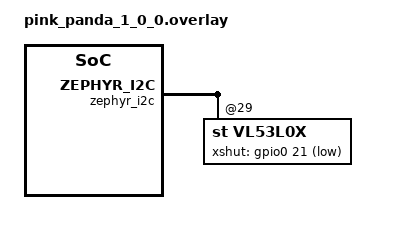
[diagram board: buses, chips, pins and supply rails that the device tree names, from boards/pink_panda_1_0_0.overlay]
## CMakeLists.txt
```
list(APPEND OVERLAY_CONFIG "wifi.conf")
list(APPEND OVERLAY_CONFIG "secret.conf")
set(SHIELD nrf7002eb)

cmake_minimum_required(VERSION 3.20.0)
list(APPEND BOARD_ROOT ${CMAKE_CURRENT_SOURCE_DIR})
find_package(Zephyr REQUIRED HINTS $ENV{ZEPHYR_BASE})

execute_process(COMMAND git describe
                WORKING_DIRECTORY ${CMAKE_CURRENT_SOURCE_DIR}
                OUTPUT_VARIABLE GIT_DESCRIBE
                ERROR_QUIET)
string(STRIP "${GIT_DESCRIBE}" GIT_DESCRIBE)
STRING(REGEX MATCH "[0-9]+\\.[0-9]+\\.[0-9]+"
       VERSION "${GIT_DESCRIBE}")

project(app LANGUAGES C VERSION ${VERSION})


configure_file(app_version.h.in ${CMAKE_BINARY_DIR}/app/include/app_version.h)
zephyr_include_directories(
    ${CMAKE_BINARY_DIR}/app/include
)
target_include_directories(app PRIVATE ${CMAKE_BINARY_DIR}/app/include src)

zephyr_include_directories(
       configuration/${BOARD})

target_sources(app PRIVATE
        src/main.c)
```

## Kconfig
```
mainmenu "Main Application"

config APP_SUSPEND_CONSOLE
	bool "Suspend console"
	help
	  Suspend console.

config APP_MAIN_LOOP_PERIOD_SEC
	int "Main loop period (sec)"
	default 10
	help
	  Main loop period in seconds.

config APP_WIFI_SSID
	string "SSID of the target AP"
	help
	  SSID of the access point to connect to in station mode.
	  For example: "TARGET-AP"

config APP_WIFI_PSK
	string "Pre-shared key for target AP"
	help
	  WPA2 password used to connect to the target AP.
	  For example: "PSK"

source "Kconfig.zephyr"
```

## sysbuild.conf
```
SB_CONFIG_WIFI_NRF70=y
SB_CONFIG_PARTITION_MANAGER=n
```

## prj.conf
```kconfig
CONFIG_APP_MAIN_LOOP_PERIOD_SEC=2
CONFIG_SERIAL=y
#CONFIG_HEAP_MEM_POOL_SIZE=2048

CONFIG_PM_DEVICE=y

CONFIG_CAF=y
CONFIG_CAF_BUTTONS=y
CONFIG_CAF_BUTTONS_POLARITY_INVERSED=y

CONFIG_MY_MODULE_BASE_RESET=y
CONFIG_MY_MODULE_BASE_WATCHDOG=y
CONFIG_MY_MODULE_BASE_WATCHDOG_TIMEOUT_SEC=30

#CONFIG_MAIN_STACK_SIZE=4096
#CONFIG_SYSTEM_WORKQUEUE_STACK_SIZE=2048
#CONFIG_LOG_BUFFER_SIZE=2048

CONFIG_THREAD_NAME=y
CONFIG_EVENTS=y
CONFIG_CONSOLE=y
CONFIG_UART_CONSOLE=y

CONFIG_REQUIRES_FLOAT_PRINTF=y

CONFIG_THREAD_ANALYZER=y
CONFIG_LOG_SPEED=y
CONFIG_LOG=y

CONFIG_SENSOR=y
```

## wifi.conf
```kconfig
CONFIG_EARLY_CONSOLE=y

CONFIG_NETWORKING=y
CONFIG_TEST_RANDOM_GENERATOR=y

#CONFIG_MAIN_STACK_SIZE=2048
#CONFIG_SHELL_STACK_SIZE=2048
#CONFIG_NET_TX_STACK_SIZE=1024
#CONFIG_NET_RX_STACK_SIZE=1024

#CONFIG_NET_PKT_RX_COUNT=5
#CONFIG_NET_PKT_TX_COUNT=5
#CONFIG_NET_BUF_RX_COUNT=5
#CONFIG_NET_BUF_TX_COUNT=5
#CONFIG_NET_MAX_CONTEXTS=2
#CONFIG_NET_DHCPV4=y

#CONFIG_NET_IPV4=y
CONFIG_NET_IPV6=y

CONFIG_NET_TCP=y

#CONFIG_NET_LOG=y
CONFIG_INIT_STACKS=y

#CONFIG_NET_SHELL=y

#CONFIG_NET_STATISTICS=y
#CONFIG_NET_STATISTICS_PERIODIC_OUTPUT=n

CONFIG_WIFI=y
#CONFIG_NRF70_UTIL=y
#CONFIG_WIFI_LOG_LEVEL_ERR=y
#CONFIG_NET_L2_WIFI_SHELL=y
# printing of scan results puts pressure on queues in new locking
# design in net_mgmt. So, use a higher timeout for a crowded
# environment.
#CONFIG_NET_MGMT_EVENT_QUEUE_TIMEOUT=5000
#CONFIG_NET_MGMT_EVENT_QUEUE_SIZE=8

# CONFIG_WIFI_NM_WPA_SUPPLICANT_GLOBAL_HEAP is not set
##CONFIG_WIFI_NM_WPA_SUPPLICANT_HEAP=20000






# # Heap and stacks
# CONFIG_MAIN_STACK_SIZE=6144
# CONFIG_SYSTEM_WORKQUEUE_STACK_SIZE=4096
# CONFIG_HEAP_MEM_POOL_SIZE=40144
# CONFIG_NRF_WIFI_CTRL_HEAP_SIZE=15000
# CONFIG_NRF_WIFI_DATA_HEAP_SIZE=64856
# CONFIG_HEAP_MEM_POOL_IGNORE_MIN=y
# CONFIG_NET_RX_STACK_SIZE=2048
# 
# # Optimize Wi-Fi stack to save some memory
# CONFIG_NRF70_RX_NUM_BUFS=16
# CONFIG_NRF70_MAX_TX_AGGREGATION=4
# 
# # Wi-Fi
# CONFIG_WIFI=y
# CONFIG_WIFI_NRF70=y
# CONFIG_WIFI_NRF70_LOG_LEVEL_ERR=y
# CONFIG_WIFI_CREDENTIALS=y
# CONFIG_FLASH_PAGE_LAYOUT=y
# 
# # Logging: default LOG_PROCESS stack is 768 B; with CONFIG_CBPRINTF_FP_SUPPORT that overflows
# # easily and can corrupt state, TF-M secure fault INVEP on the next PSA/crypto call.
# CONFIG_LOG_PROCESS_THREAD_STACK_SIZE=4096
# 
# # WPA
# CONFIG_WIFI_NM_WPA_SUPPLICANT=y
# CONFIG_WIFI_NM_WPA_SUPPLICANT_LOG_LEVEL_ERR=y
# 
# # Zephyr NET Connection Manager Connectivity layer.
# CONFIG_L2_WIFI_CONNECTIVITY=y
# CONFIG_L2_WIFI_CONNECTIVITY_AUTO_CONNECT=n
# CONFIG_L2_WIFI_CONNECTIVITY_AUTO_DOWN=n




CONFIG_APP_WIFI_SSID="iot"


CONFIG_SYSTEM_WORKQUEUE_STACK_SIZE=3100
CONFIG_MAIN_STACK_SIZE=4096
CONFIG_LOG_PROCESS_THREAD_STACK_SIZE=2048
CONFIG_LOG_BUFFER_SIZE=4096
CONFIG_NET_PKT_RX_COUNT=6
CONFIG_NET_PKT_TX_COUNT=6
CONFIG_NET_RX_STACK_SIZE=2048
CONFIG_NET_TX_STACK_SIZE=2048
CONFIG_HEAP_MEM_POOL_SIZE=30000
CONFIG_L2_WIFI_CONNECTIVITY=y
# High stack for disconnect?
CONFIG_L2_WIFI_CONN_WQ_STACK_SIZE=6144
##CONFIG_PARTITION_MANAGER_ENABLED=y
CONFIG_NET_CONNECTION_MANAGER_MONITOR_STACK_SIZE=4096
CONFIG_NET_BUF_TX_COUNT=12
# CONFIG_WIFI_NM_WPA_SUPPLICANT_GLOBAL_HEAP is not set
CONFIG_WIFI_NM_WPA_SUPPLICANT_LOG_LEVEL_ERR=y
CONFIG_HEAP_MEM_POOL_IGNORE_MIN=y
CONFIG_ENTROPY_NRF5_THR_THRESHOLD=4
CONFIG_ENTROPY_NRF5_ISR_THRESHOLD=12
CONFIG_NET_MGMT_EVENT_STACK_SIZE=1024
CONFIG_WIFI_NRF70_LOG_LEVEL_ERR=y
CONFIG_NRF70_RX_NUM_BUFS=16
CONFIG_NRF70_MAX_TX_AGGREGATION=1
CONFIG_NRF70_IRQ_WQ_STACK_SIZE=1024
CONFIG_NRF_WIFI_CTRL_HEAP_SIZE=15000
CONFIG_NRF_WIFI_DATA_HEAP_SIZE=40000
CONFIG_NET_IPV6_LOG_LEVEL_DBG=y
CONFIG_NET_BUF_RX_COUNT=6
CONFIG_NET_LOG=y
CONFIG_WIFI_CREDENTIALS=y
CONFIG_WIFI_CREDENTIALS_STATIC=y
CONFIG_WIFI_CREDENTIALS_STATIC_SSID="iot"
CONFIG_NET_CONNECTION_MANAGER=y
CONFIG_TEST_RANDOM_GENERATOR=y




CONFIG_MY_MODULE_BASE_HOME_ASSISTANT=y
CONFIG_MY_MODULE_BASE_HA_DEVICE_NAME="Water level"
CONFIG_MY_MODULE_BASE_HA_DEV_TYPE_GENERIC=y
#CONFIG_MY_MODULE_BASE_HA_MQTT_SERVER_HOSTNAME="home.home.arpa"
CONFIG_MY_MODULE_BASE_HA_MQTT_SERVER_HOSTNAME="fd04:2240::1cef"
```

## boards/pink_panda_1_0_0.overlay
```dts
/ {
	/*
	* In some default configurations within the nRF Connect SDK,
	* e.g. on nRF52840, the chosen zephyr,entropy node is &cryptocell.
	* This devicetree overlay ensures that default is overridden wherever it
	* is set, as this application uses the RNG node for entropy exclusively.
	*/
	chosen {
		zephyr,entropy = &rng;
	};

	// edge_connector: connector {
	// 	compatible = "nordic-thingy53-edge-connector";
	// 	#gpio-cells = <2>;
	// 	gpio-map-mask = <0xffffffff 0xffffffc0>;
	// 	gpio-map-pass-thru = <0 0x3f>;
	// 	gpio-map = <8 0 &gpio1 13 0>,	/* P8, P0.05/AIN1 */
	// 		   <9 0 &gpio1 15 0>,	/* P9, P0.04/AIN0 */
	// 		   <15 0 &gpio0 2 0>,	/* P15, P0.08/TRACEDATA3 */
	// 		   <16 0 &gpio0 29 0>,	/* P16, P0.09/TRACEDATA2 */
	// 		   <17 0 &gpio0 5 0>,	/* P17, P0.10/TRACEDATA1 */
	// 		   <18 0 &gpio0 4 0>,	/* P18, P0.11/TRACEDATA0 */
	// 		   <19 0 &gpio0 25 0>;	/* P19, P0.12/TRACECLK */
	// };
};
&pinctrl {
	// i2c0_default: i2c0_default {
	// 	group1 {
	// 		psels = <NRF_PSEL(TWIM_SDA, 0, 26)>,
	// 			<NRF_PSEL(TWIM_SCL, 0, 27)>;
	// 	};
	// };

	// i2c0_sleep: i2c0_sleep {
	// 	group1 {
	// 		psels = <NRF_PSEL(TWIM_SDA, 0, 26)>,
	// 			<NRF_PSEL(TWIM_SCL, 0, 27)>;
	// 		low-power-enable;
	// 	};
	// };

	// i2c1_default: i2c1_default {
	// 	group1 {
	// 		psels = <NRF_PSEL(TWIM_SDA, 0, 30)>,
	// 			<NRF_PSEL(TWIM_SCL, 0, 31)>;
	// 	};
	// };

	// i2c1_sleep: i2c1_sleep {
	// 	group1 {
	// 		psels = <NRF_PSEL(TWIM_SDA, 0, 30)>,
	// 			<NRF_PSEL(TWIM_SCL, 0, 31)>;
	// 		low-power-enable;
	// 	};
	// };

	// pwm0_default: pwm0_default {
	// 	group1 {
	// 		psels = <NRF_PSEL(PWM_OUT0, 0, 8)>,
	// 			<NRF_PSEL(PWM_OUT1, 1, 9)>,
	// 			<NRF_PSEL(PWM_OUT2, 0, 12)>;
	// 		nordic,invert;
	// 	};
	// };

	// pwm0_sleep: pwm0_sleep {
	// 	group1 {
	// 		psels = <NRF_PSEL(PWM_OUT0, 0, 8)>,
	// 			<NRF_PSEL(PWM_OUT1, 1, 9)>,
	// 			<NRF_PSEL(PWM_OUT2, 0, 12)>;
	// 		low-power-enable;
	// 	};
	// };

	// spi0_default: spi0_default {
	// 	group1 {
	// 		psels = <NRF_PSEL(SPIM_SCK, 1, 10)>,
	// 			<NRF_PSEL(SPIM_MOSI, 1, 14)>,
	// 			<NRF_PSEL(SPIM_MISO, 0, 03)>;
	// 	};
	// };

	// spi0_sleep: spi0_sleep {
	// 	group1 {
	// 		psels = <NRF_PSEL(SPIM_SCK, 1, 10)>,
	// 			<NRF_PSEL(SPIM_MOSI, 1, 14)>,
	// 			<NRF_PSEL(SPIM_MISO, 0, 03)>;
	// 		low-power-enable;
	// 	};
	// };

	// spi1_default: spi1_default {
	// 	group1 {
	// 		psels = <NRF_PSEL(SPIM_SCK, 0, 31)>,
	// 			<NRF_PSEL(SPIM_MOSI, 0, 30)>,
	// 			<NRF_PSEL(SPIM_MISO, 1, 13)>;
	// 	};
	// };

	// spi1_sleep: spi1_sleep {
	// 	group1 {
	// 		psels = <NRF_PSEL(SPIM_SCK, 0, 31)>,
	// 			<NRF_PSEL(SPIM_MOSI, 0, 30)>,
	// 			<NRF_PSEL(SPIM_MISO, 1, 13)>;
	// 		low-power-enable;
	// 	};
	// };

};
&adc {
	status = "disabled";
};
&uart1 {
	status = "disabled";
};
&pwm0 {
	status = "disabled";
};
// &i2c0 {
// 	status = "disabled";
// };
// &spi0 {
// 	status = "disabled";
// };
// &spi1 {
// 	status = "disabled";
// };
// &spi2 {
// 	status = "disabled";
// };
// &spi3 {
// 	status = "disabled";
// };
&qspi {
	status = "disabled";
};
&usbd {
	status = "disabled";
};
&gpio0 {
	status = "okay";
};
&gpio1 {
	status = "okay";
};
&gpiote {
    status = "okay";
};
&ieee802154 {
	status = "disabled";
};
// &edge_connector_spi {
// 	// compatible = "nordic,nrf-spim";
// 	status = "okay";
// 	// cs-gpios = <&edge_connector 19 GPIO_ACTIVE_LOW>;
// 	// pinctrl-0 = <&spi3_default>;
// 	// pinctrl-1 = <&spi3_sleep>;
// 	// pinctrl-names = "default", "sleep";
// };

&zephyr_i2c {
        status = "okay";

        vl53l0x@29 {
                compatible = "st,vl53l0x";
                reg = <0x29>;
                xshut-gpios = <&gpio0 21 GPIO_ACTIVE_LOW>;
        };
};
```

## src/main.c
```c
#include <app_event_manager.h>
#include <zephyr/drivers/gpio.h>
#include <zephyr/drivers/sensor.h>
#include <zephyr/drivers/sensor/vl53l0x.h>
#include <zephyr/drivers/watchdog.h>
#include <zephyr/kernel.h>
#include <zephyr/net/wifi_mgmt.h>
#include <zephyr/pm/device.h>
#include <zephyr/debug/thread_analyzer.h>

#define MODULE main
#include <caf/events/module_state_event.h>
#include <caf/events/button_event.h>

#include <zephyr/logging/log.h>
LOG_MODULE_REGISTER(main, LOG_LEVEL_DBG);

#include <app_version.h>
#include <mymodule/base/ha.h>
#include <mymodule/base/reset.h>
#include <mymodule/base/uid.h>
#include <mymodule/base/watchdog.h>


#define BUTTON_PRESS_EVENT		BIT(0)

#define MACSTR "%02X:%02X:%02X:%02X:%02X:%02X"
#define NET_EVENT_WIFI_MASK                                                                        \
	(NET_EVENT_WIFI_CONNECT_RESULT | NET_EVENT_WIFI_DISCONNECT_RESULT |                        \
	 NET_EVENT_WIFI_AP_ENABLE_RESULT | NET_EVENT_WIFI_AP_DISABLE_RESULT |                      \
	 NET_EVENT_WIFI_AP_STA_CONNECTED | NET_EVENT_WIFI_AP_STA_DISCONNECTED)

#define RETRY_DELAY_SECONDS		10

static K_EVENT_DEFINE(button_events);

static struct net_if *sta_iface;
static struct wifi_connect_req_params sta_config;
static struct net_mgmt_event_callback cb;

static struct ha_sensor level_sensor = {
	.type = HA_SENSOR_TYPE,
	.name = "Water Level",
	.device_class = "distance",
	.state_class = "measurement",
	.unit_of_measurement = "mm",
	.suggested_display_precision = 2,
};


static void wifi_event_handler(struct net_mgmt_event_callback *cb, uint64_t mgmt_event,
			       struct net_if *iface)
{
	switch (mgmt_event) {
	case NET_EVENT_WIFI_CONNECT_RESULT: {
		LOG_INF("Connected to %s", CONFIG_APP_WIFI_SSID);
		break;
	}
	case NET_EVENT_WIFI_DISCONNECT_RESULT: {
		LOG_INF("Disconnected from %s", CONFIG_APP_WIFI_SSID);
		break;
	}
	default:
		break;
	}
}


static int connect_to_wifi(void)
{
	if (!sta_iface) {
		LOG_INF("STA: interface no initialized");
		return -EIO;
	}

	sta_config.ssid = (const uint8_t *)CONFIG_APP_WIFI_SSID;
	sta_config.ssid_length = sizeof(CONFIG_APP_WIFI_SSID) - 1;
	sta_config.psk = (const uint8_t *)CONFIG_APP_WIFI_PSK;
	sta_config.psk_length = sizeof(CONFIG_APP_WIFI_PSK) - 1;
	sta_config.security = WIFI_SECURITY_TYPE_PSK;
	sta_config.channel = WIFI_CHANNEL_ANY;
	sta_config.band = WIFI_FREQ_BAND_2_4_GHZ;

	LOG_INF("Connecting to SSID: %s\n", sta_config.ssid);

	int ret = net_mgmt(NET_REQUEST_WIFI_CONNECT, sta_iface, &sta_config,
			   sizeof(struct wifi_connect_req_params));
	if (ret) {
		LOG_ERR("Unable to Connect to (%s)", CONFIG_APP_WIFI_SSID);
	}

	return ret;
}

static void register_sensor_retry(struct ha_sensor *sensor)
{
	int ret;

retry:
	ret = ha_register_sensor(sensor);
	if (ret < 0) {
		LOG_WRN("Could not register sensor, retrying");
		k_sleep(K_SECONDS(RETRY_DELAY_SECONDS));
		goto retry;
	}
}

static void set_online_retry(void)
{
	int ret;

retry:
	ret = ha_set_online();
	if (ret < 0) {
		LOG_WRN("Could not set online, retrying");
		k_sleep(K_SECONDS(RETRY_DELAY_SECONDS));
		goto retry;
	}
}

int main(void)
{
	const struct device *wdt = DEVICE_DT_GET(DT_NODELABEL(wdt0));
#if defined(CONFIG_APP_SUSPEND_CONSOLE)
	const struct device *cons = DEVICE_DT_GET(DT_CHOSEN(zephyr_console));
#endif
	const struct device *const tof = DEVICE_DT_GET_ONE(st_vl53l0x);
	int ret;
	uint32_t reset_cause;
	int main_wdt_chan_id = -1;
	uint32_t events;
	uint32_t main_loop_counter = 0;
	struct sensor_value value;

	ret = watchdog_new_channel(wdt, &main_wdt_chan_id);
	if (ret < 0) {
		LOG_ERR("Could allocate main watchdog channel");
		return ret;
	}

	ret = watchdog_start(wdt);
	if (ret < 0) {
		LOG_ERR("Could allocate start watchdog");
		return ret;
	}

	LOG_INF("\n\n🚀 MAIN START (%s) 🚀\n", APP_VERSION_FULL);

	reset_cause = show_and_clear_reset_cause();
	
	if (app_event_manager_init()) {
		LOG_ERR("Event manager not initialized");
	} else {
		module_set_state(MODULE_STATE_READY);
	}

	if (!device_is_ready(tof)) {
		LOG_ERR("vl53l0x not ready");
		return 0;
	}

	ret = uid_init();
	if (ret < 0) {
		LOG_ERR("Could not initialize uid module");
		return ret;
	}

	ret = uid_generate_unique_id(level_sensor.unique_id,
				     sizeof(level_sensor.unique_id),
				     "nrf52840", "dst",
				     uid_get_device_id());
	if (ret < 0) {
		LOG_ERR("Could not generate vl53l0x unique id");
		return ret;
	}

	k_sleep(K_SECONDS(10));

	// net_mgmt_init_event_callback(&cb, wifi_event_handler, NET_EVENT_WIFI_MASK);
	// net_mgmt_add_event_callback(&cb);

	// sta_iface = net_if_get_wifi_sta();

	// connect_to_wifi();


	bool inhibit_discovery = false;
	bool enable_last_will = true;
	ha_start(inhibit_discovery, enable_last_will);

	register_sensor_retry(&level_sensor);

	set_online_retry();

	LOG_INF("🆗 initialized");

#if defined(CONFIG_APP_SUSPEND_CONSOLE)
	ret = pm_device_action_run(cons, PM_DEVICE_ACTION_SUSPEND);
	if (ret < 0) {
		LOG_ERR("Could not suspend the console");
		return ret;
	}
#endif

	thread_analyzer_print(0);

	LOG_INF("┌──────────────────────────────────────────────────────────┐");
	LOG_INF("│ Entering main loop                                       │");
	LOG_INF("└──────────────────────────────────────────────────────────┘");

	while (1) {
		LOG_INF("💤 waiting for events");
		events = k_event_wait(&button_events,
				(BUTTON_PRESS_EVENT),
				true,
				K_SECONDS(CONFIG_APP_MAIN_LOOP_PERIOD_SEC));

		LOG_INF("⏰ events: %08x", events);

		if (events & BUTTON_PRESS_EVENT) {
			LOG_INF("handling button press event");
		}

		if ((main_loop_counter++ % 30) == 0) {
			thread_analyzer_print(0);
		}

		ret = sensor_sample_fetch(tof);
		if (ret) {
			LOG_ERR("sensor_sample_fetch failed ret %d\n", ret);
			return 0;
		}

		ret = sensor_channel_get(tof, SENSOR_CHAN_PROX, &value);
		LOG_INF("prox is %d", value.val1);

		ret = sensor_channel_get(tof, SENSOR_CHAN_DISTANCE, &value);
		LOG_INF("distance is %.3lld mm", sensor_value_to_milli(&value));

		ha_add_sensor_reading(&level_sensor,
				      sensor_value_to_milli(&value));

		ret = ha_send_sensor_value(&level_sensor);
		if (ret < 0) {
			LOG_WRN("⚠️ could not send distance");
		}




		ret = sensor_channel_get(tof, SENSOR_CHAN_VL53L0X_RANGE_DMAX, &value);
		LOG_INF("Max distance is %.3lld mm", sensor_value_to_milli(&value));

		ret = sensor_channel_get(tof, SENSOR_CHAN_VL53L0X_SIGNAL_RATE_RTN_CPS, &value);
		LOG_INF("Signal rate is %d Cps", value.val1);

		ret = sensor_channel_get(tof, SENSOR_CHAN_VL53L0X_AMBIENT_RATE_RTN_CPS, &value);
		LOG_INF("Ambient rate is %d Cps", value.val1);

		ret = sensor_channel_get(tof, SENSOR_CHAN_VL53L0X_EFFECTIVE_SPAD_RTN_COUNT, &value);
		LOG_INF("SPADs used: %d", value.val1);

		ret = sensor_channel_get(tof, SENSOR_CHAN_VL53L0X_RANGE_STATUS, &value);
		if (value.val1 == VL53L0X_RANGE_STATUS_RANGE_VALID) {
			LOG_INF("Status: OK");
		} else {
			LOG_INF("Status: Error code %d", value.val1);
		}

		LOG_INF("🦴 feed watchdog");
		wdt_feed(wdt, main_wdt_chan_id);
	}

	return 0;
}

static bool event_handler(const struct app_event_header *eh)
{
	const struct button_event *evt;

	if (is_button_event(eh)) {
		evt = cast_button_event(eh);

		if (evt->pressed) {
			LOG_INF("🛎️  Button pressed");
			k_event_post(&button_events, BUTTON_PRESS_EVENT);
		}
	}

	return true;
}

APP_EVENT_LISTENER(MODULE, event_handler);
APP_EVENT_SUBSCRIBE(MODULE, button_event);
```
